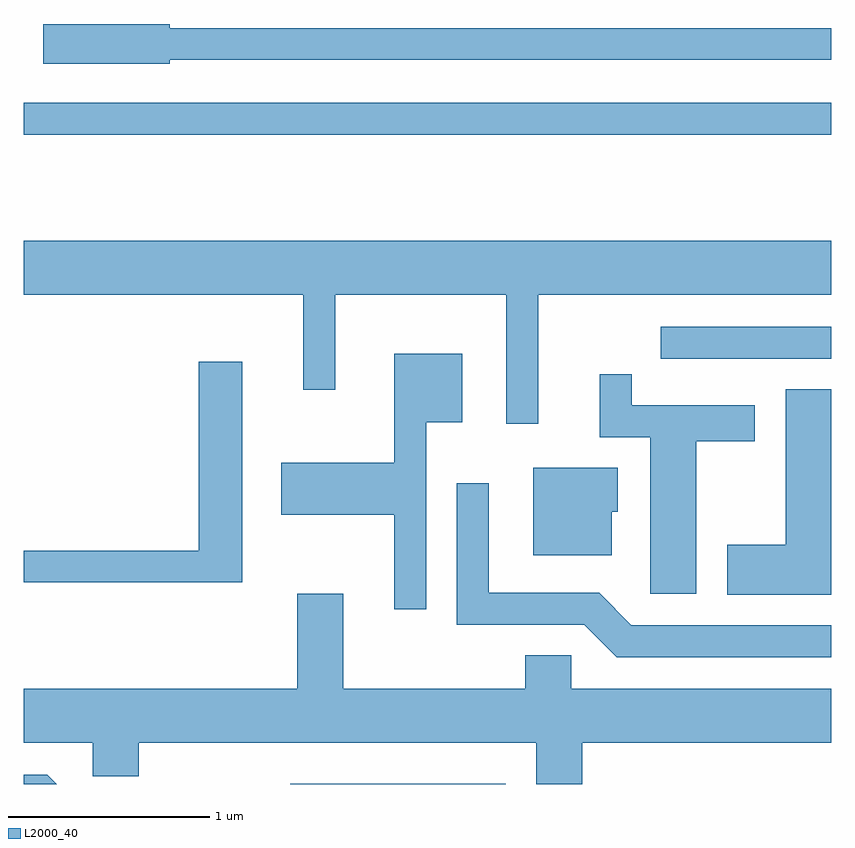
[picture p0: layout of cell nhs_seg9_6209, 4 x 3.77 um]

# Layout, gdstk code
import gdstk
lib = gdstk.Library(unit=1e-6, precision=1e-09)
def R(c, l, rs):  # rectangles x0, y0, x1, y1
    for r in rs: c.add(gdstk.rectangle(r[:2], r[2:], *l))
def P(c, l, *ps):  # polygons
    for p in ps: c.add(gdstk.Polygon(p, *l))
L2000_40 = (2000, 40)

nhs_seg9_6209 = lib.new_cell('nhs_seg9_6209')
R(nhs_seg9_6209, L2000_40, [(368.931,2060.432,369.999,2060.434), (370.768,2062.541,371.611,2062.699), (367.611,2063.651,371.611,2063.809)])
P(nhs_seg9_6209, L2000_40, [(368.334,2064.021),(371.611,2064.021),(371.611,2064.179),(368.334,2064.179),(368.334,2064.199),(367.706,2064.199),(367.706,2064.001),(368.334,2064.001)],
  [(370.159,2062.856),(371.611,2062.856),(371.611,2063.124),(367.611,2063.124),(367.611,2062.856),(368.996,2062.856),(368.996,2062.387),(369.154,2062.387),(369.154,2062.856),(370.001,2062.856),(370.001,2062.218),(370.159,2062.218)],
  [(369.604,2062.226),(369.784,2062.226),(369.784,2062.564),(369.446,2062.564),(369.446,2062.024),(368.886,2062.024),(368.886,2061.766),(369.446,2061.766),(369.446,2061.298),(369.604,2061.298)],
  [(368.694,2062.524),(368.476,2062.524),(368.476,2061.589),(367.611,2061.589),(367.611,2061.431),(368.694,2061.431)],
  [(370.944,2062.131),(371.234,2062.131),(371.234,2062.309),(370.624,2062.309),(370.624,2062.463),(370.466,2062.463),(370.466,2062.151),(370.716,2062.151),(370.716,2061.376),(370.944,2061.376)],
  [(371.611,2062.389),(371.386,2062.389),(371.386,2061.619),(371.096,2061.619),(371.096,2061.371),(371.611,2061.371)],
  [(370.524,2061.781),(370.554,2061.781),(370.554,2061.999),(370.136,2061.999),(370.136,2061.566),(370.524,2061.566)],
  [(371.611,2061.219),(370.622,2061.219),(370.462,2061.379),(369.914,2061.379),(369.914,2061.923),(369.756,2061.923),(369.756,2061.221),(370.389,2061.221),(370.549,2061.061),(371.611,2061.061)],
  [(370.379,2060.636),(371.611,2060.636),(371.611,2060.904),(370.324,2060.904),(370.324,2061.069),(370.096,2061.069),(370.096,2060.904),(369.194,2060.904),(369.194,2061.374),(368.966,2061.374),(368.966,2060.904),(367.611,2060.904),(367.611,2060.636),(367.951,2060.636),(367.951,2060.471),(368.179,2060.471),(368.179,2060.636),(370.151,2060.636),(370.151,2060.432),(370.379,2060.432)],
  [(367.727,2060.479),(367.611,2060.479),(367.611,2060.432),(367.774,2060.432)])

lib.write_gds('nhs_seg9_6209.gds')
